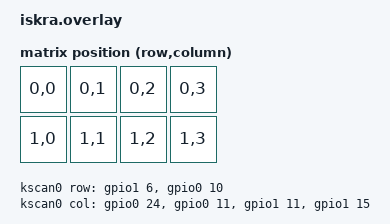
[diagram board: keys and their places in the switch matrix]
/*
 * Iskra shield overlay (nice_nano_v2, Pro Micro footprint)
 */

#include <dt-bindings/zmk/matrix_transform.h>
#include <physical_layouts.dtsi>

/ {
	chosen {
		zmk,kscan = &kscan0;
		zmk,physical-layout = &iskra_layout;
	};

	iskra_transform: iskra_transform {
		compatible = "zmk,matrix-transform";
		columns = <4>;
		rows = <2>;
		/* Only 8 keys populated: 4x2 matrix with */
		map = <
			RC(0,0) RC(0,1) RC(0,2) RC(0,3)
			RC(1,0) RC(1,1) RC(1,2) RC(1,3)
		>;
	};

	iskra_layout: iskra_layout {
		compatible = "zmk,physical-layout";
		display-name = "Default Layout";
		transform = <&iskra_transform>;
		kscan = <&kscan0>;
		/* 10 keys arranged as:
		 * 1 2 3 4
		 * 5 6 7 SPACE
		 */
		keys = <&key_physical_attrs 100 100    0    0 0 0 0>
		     , <&key_physical_attrs 100 100  100    0 0 0 1>
		     , <&key_physical_attrs 100 100  200    0 0 0 2>
		     , <&key_physical_attrs 100 100  300    0 0 0 3>
		     , <&key_physical_attrs 100 100    0  100 0 1 0>
		     , <&key_physical_attrs 100 100  100  100 0 1 1>
		     , <&key_physical_attrs 100 100  200  100 0 1 2>
		     , <&key_physical_attrs 100 100  300  100 0 1 3>;
	};
};

&pro_micro {
	kscan0: kscan {
		compatible = "zmk,kscan-gpio-matrix";
		label = "KSCAN";
		diode-direction = "col2row";
		debounce-press-ms = <5>;
		debounce-release-ms = <5>;

		row-gpios = <&gpio1 6 (GPIO_ACTIVE_LOW | GPIO_PULL_UP)>,
			       <&gpio0 10 (GPIO_ACTIVE_LOW | GPIO_PULL_UP)>;

		col-gpios = <&gpio0 24 GPIO_ACTIVE_LOW>,
		       	<&gpio0 11 GPIO_ACTIVE_LOW>,
		       	<&gpio1 11 GPIO_ACTIVE_LOW>,
		       	<&gpio1 15 GPIO_ACTIVE_LOW>;
	};
};
